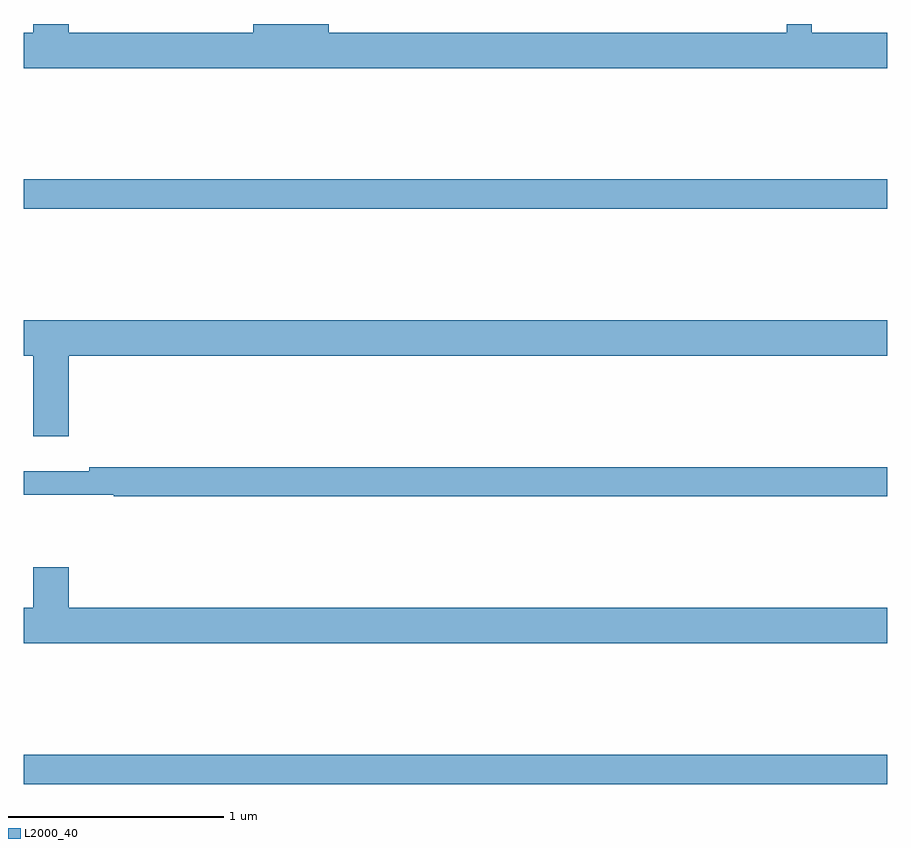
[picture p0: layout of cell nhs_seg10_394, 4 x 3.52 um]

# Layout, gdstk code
import gdstk
lib = gdstk.Library(unit=1e-6, precision=1e-09)
def R(c, l, rs):  # rectangles x0, y0, x1, y1
    for r in rs: c.add(gdstk.rectangle(r[:2], r[2:], *l))
def P(c, l, *ps):  # polygons
    for p in ps: c.add(gdstk.Polygon(p, *l))
L2000_40 = (2000, 40)

nhs_seg10_394 = lib.new_cell('nhs_seg10_394')
R(nhs_seg10_394, L2000_40, [(129,1316.98,133,1317.116), (129,1319.644,133,1319.78)])
P(nhs_seg10_394, L2000_40, [(133,1320.46),(132.651,1320.46),(132.651,1320.5),(132.535,1320.5),(132.535,1320.46),(130.414,1320.46),(130.414,1320.5),(130.064,1320.5),(130.064,1320.46),(129.208,1320.46),(129.208,1320.5),(129.044,1320.5),(129.044,1320.46),(129,1320.46),(129,1320.296),(133,1320.296)],
  [(129.208,1318.964),(133,1318.964),(133,1319.128),(129,1319.128),(129,1318.964),(129.044,1318.964),(129.044,1318.59),(129.208,1318.59)],
  [(133,1318.448),(129.304,1318.448),(129.304,1318.429),(129,1318.429),(129,1318.32),(129.416,1318.32),(129.416,1318.312),(133,1318.312)],
  [(133,1317.796),(129.208,1317.796),(129.208,1317.985),(129.044,1317.985),(129.044,1317.796),(129,1317.796),(129,1317.632),(133,1317.632)])

lib.write_gds('nhs_seg10_394.gds')
